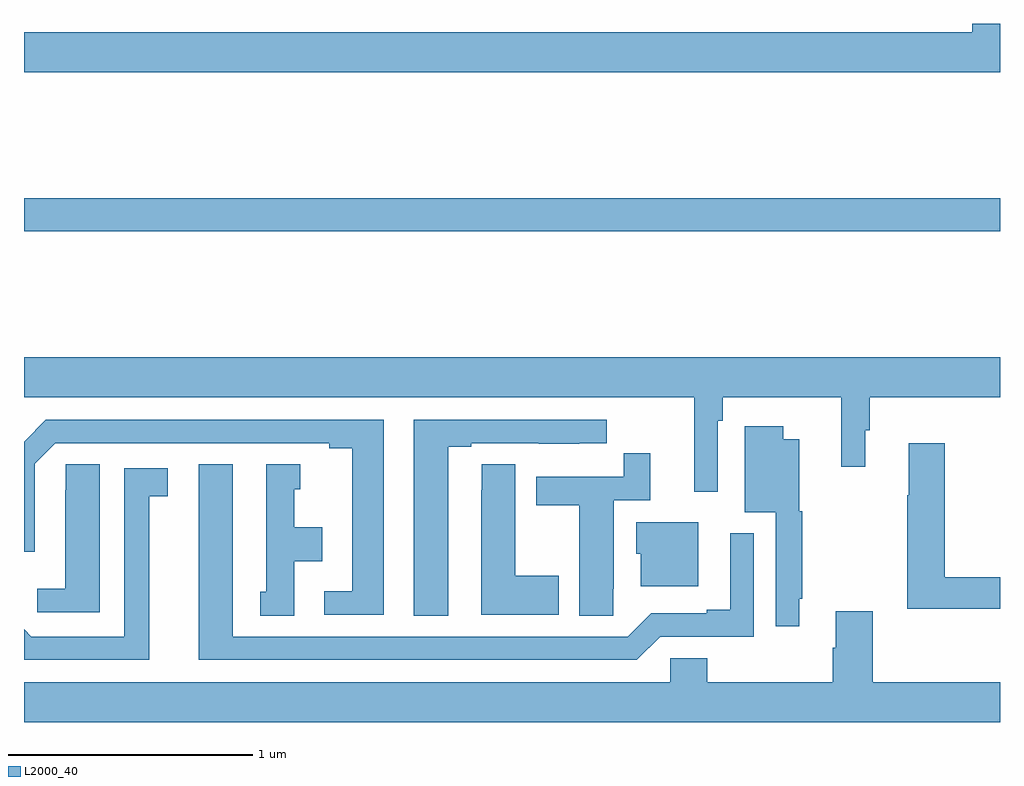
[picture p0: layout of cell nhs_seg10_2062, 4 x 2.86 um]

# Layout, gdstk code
import gdstk
lib = gdstk.Library(unit=1e-6, precision=1e-09)
def R(c, l, rs):  # rectangles x0, y0, x1, y1
    for r in rs: c.add(gdstk.rectangle(r[:2], r[2:], *l))
def P(c, l, *ps):  # polygons
    for p in ps: c.add(gdstk.Polygon(p, *l))
L2000_40 = (2000, 40)

nhs_seg10_2062 = lib.new_cell('nhs_seg10_2062')
R(nhs_seg10_2062, L2000_40, [(219,1315.648,223,1315.784)])
P(nhs_seg10_2062, L2000_40, [(223,1316.5),(222.887,1316.5),(222.887,1316.464),(219,1316.464),(219,1316.3),(223,1316.3)],
  [(221.844,1314.872),(221.864,1314.872),(221.864,1314.968),(222.349,1314.968),(222.349,1314.684),(222.448,1314.684),(222.448,1314.834),(222.467,1314.834),(222.467,1314.968),(223,1314.968),(223,1315.132),(219,1315.132),(219,1314.968),(221.747,1314.968),(221.747,1314.582),(221.844,1314.582)],
  [(220.738,1314.765),(220.834,1314.765),(220.834,1314.78),(221.11,1314.78),(221.11,1314.779),(221.276,1314.779),(221.276,1314.78),(221.389,1314.78),(221.389,1314.876),(220.598,1314.876),(220.598,1314.073),(220.738,1314.073)],
  [(220.474,1314.876),(219.089,1314.876),(219,1314.787),(219,1314.336),(219.045,1314.336),(219.045,1314.696),(219.129,1314.78),(220.25,1314.78),(220.25,1314.76),(220.346,1314.76),(220.346,1314.174),(220.23,1314.174),(220.23,1314.078),(220.474,1314.078)],
  [(222.178,1314.142),(222.19,1314.142),(222.19,1314.501),(222.178,1314.501),(222.178,1314.796),(222.112,1314.796),(222.112,1314.85),(221.954,1314.85),(221.954,1314.497),(222.081,1314.497),(222.081,1314.03),(222.178,1314.03)],
  [(223,1314.23),(222.773,1314.23),(222.773,1314.781),(222.626,1314.781),(222.626,1314.568),(222.619,1314.568),(222.619,1314.102),(223,1314.102)],
  [(221.415,1314.184),(221.416,1314.184),(221.416,1314.546),(221.567,1314.546),(221.567,1314.739),(221.458,1314.739),(221.458,1314.642),(221.099,1314.642),(221.099,1314.526),(221.276,1314.526),(221.276,1314.073),(221.415,1314.073)],
  [(221.191,1314.237),(221.014,1314.237),(221.014,1314.695),(220.875,1314.695),(220.875,1314.587),(220.874,1314.587),(220.874,1314.077),(221.191,1314.077)],
  [(219.31,1314.695),(219.171,1314.695),(219.171,1314.587),(219.17,1314.587),(219.17,1314.184),(219.054,1314.184),(219.054,1314.087),(219.31,1314.087)],
  [(220.108,1314.296),(220.222,1314.296),(220.222,1314.436),(220.108,1314.436),(220.108,1314.591),(220.132,1314.591),(220.132,1314.694),(219.992,1314.694),(219.992,1314.171),(219.968,1314.171),(219.968,1314.073),(220.108,1314.073)],
  [(221.607,1313.988),(221.991,1313.988),(221.991,1314.412),(221.894,1314.412),(221.894,1314.097),(221.798,1314.097),(221.798,1314.084),(221.571,1314.084),(221.475,1313.988),(219.856,1313.988),(219.856,1314.694),(219.716,1314.694),(219.716,1313.892),(221.511,1313.892)],
  [(219.514,1314.562),(219.589,1314.562),(219.589,1314.678),(219.41,1314.678),(219.41,1313.988),(219.03,1313.988),(219,1314.018),(219,1313.892),(219.514,1313.892)],
  [(221.764,1314.457),(221.51,1314.457),(221.51,1314.327),(221.528,1314.327),(221.528,1314.194),(221.764,1314.194)],
  [(223,1313.8),(222.479,1313.8),(222.479,1314.091),(222.326,1314.091),(222.326,1313.942),(222.314,1313.942),(222.314,1313.8),(221.801,1313.8),(221.801,1313.898),(221.649,1313.898),(221.649,1313.8),(219,1313.8),(219,1313.636),(223,1313.636)])

lib.write_gds('nhs_seg10_2062.gds')
